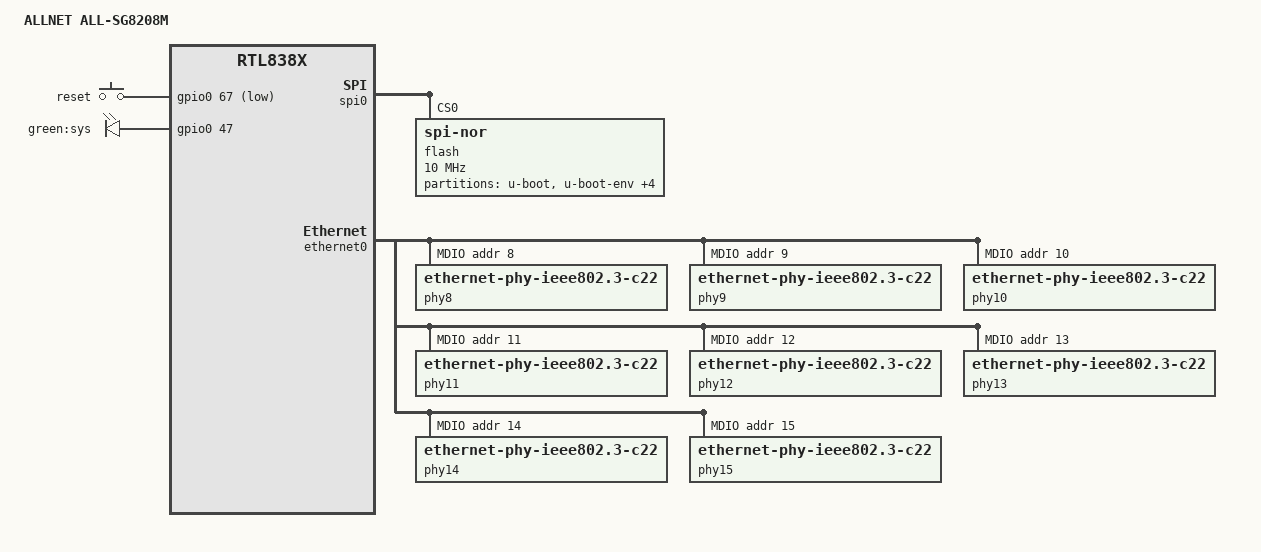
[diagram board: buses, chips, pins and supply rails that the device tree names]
// SPDX-License-Identifier: GPL-2.0-or-later

#include "rtl838x.dtsi"

#include <dt-bindings/input/input.h>
#include <dt-bindings/gpio/gpio.h>

/ {
	compatible = "allnet,all-sg8208m", "realtek,rtl838x-soc";
	model = "ALLNET ALL-SG8208M";

	aliases {
		led-boot = &led_sys;
		led-failsafe = &led_sys;
		led-running = &led_sys;
		led-upgrade = &led_sys;
	};

	chosen {
		bootargs = "console=ttyS0,115200";
	};

	keys {
		compatible = "gpio-keys-polled";
		poll-interval = <20>;

		reset {
			label = "reset";
			gpios = <&gpio0 67 GPIO_ACTIVE_LOW>;
			linux,code = <KEY_RESTART>;
		};
	};

	leds {
		compatible = "gpio-leds";

		led_sys: sys {
			label = "green:sys";
			gpios = <&gpio0 47 GPIO_ACTIVE_HIGH>;
		};
		// GPIO 25: power on/off all port leds
	};
};

&gpio0 {
	indirect-access-bus-id = <0>;
};

&spi0 {
	status = "okay";

	flash@0 {
		compatible = "jedec,spi-nor";
		reg = <0>;
		spi-max-frequency = <10000000>;

		partitions {
			compatible = "fixed-partitions";
			#address-cells = <1>;
			#size-cells = <1>;

			partition@0 {
				label = "u-boot";
				reg = <0x0 0x80000>;
				read-only;
			};

			partition@80000 {
				label = "u-boot-env";
				reg = <0x80000 0x10000>;
				read-only;
			};

			partition@90000 {
				label = "u-boot-env2";
				reg = <0x90000 0x10000>;
				read-only;
			};

			partition@a0000 {
				label = "jffs";
				reg = <0xa0000 0x100000>;
			};

			partition@1a0000 {
				label = "jffs2";
				reg = <0x1a0000 0x100000>;
			};

			partition@2a0000 {
				label = "firmware";
				reg = <0x2a0000 0xd60000>;
				compatible = "allnet,uimage";
			};
		};
	};
};

&ethernet0 {
	mdio: mdio-bus {
		compatible = "realtek,rtl838x-mdio";
		regmap = <&ethernet0>;
		#address-cells = <1>;
		#size-cells = <0>;

		/* Internal phy */
		phy8: ethernet-phy@8 {
			reg = <8>;
			compatible = "ethernet-phy-ieee802.3-c22";
		};

		phy9: ethernet-phy@9 {
			reg = <9>;
			compatible = "ethernet-phy-ieee802.3-c22";
		};

		phy10: ethernet-phy@10 {
			reg = <10>;
			compatible = "ethernet-phy-ieee802.3-c22";
		};

		phy11: ethernet-phy@11 {
			reg = <11>;
			compatible = "ethernet-phy-ieee802.3-c22";
		};

		phy12: ethernet-phy@12 {
			reg = <12>;
			compatible = "ethernet-phy-ieee802.3-c22";
		};

		phy13: ethernet-phy@13 {
			reg = <13>;
			compatible = "ethernet-phy-ieee802.3-c22";
		};

		phy14: ethernet-phy@14 {
			reg = <14>;
			compatible = "ethernet-phy-ieee802.3-c22";
		};

		phy15: ethernet-phy@15 {
			reg = <15>;
			compatible = "ethernet-phy-ieee802.3-c22";
		};
	};
};

&switch0 {
	ports {
		#address-cells = <1>;
		#size-cells = <0>;

		port@0 {
			reg = <8>;
			label = "lan1";
			phy-handle = <&phy8>;
			phy-mode = "internal";
		};

		port@1 {
			reg = <9>;
			label = "lan2";
			phy-handle = <&phy9>;
			phy-mode = "internal";
		};

		port@2 {
			reg = <10>;
			label = "lan3";
			phy-handle = <&phy10>;
			phy-mode = "internal";
		};

		port@3 {
			reg = <11>;
			label = "lan4";
			phy-handle = <&phy11>;
			phy-mode = "internal";
		};

		port@4 {
			reg = <12>;
			label = "lan5";
			phy-handle = <&phy12>;
			phy-mode = "internal";
		};

		port@5 {
			reg = <13>;
			label = "lan6";
			phy-handle = <&phy13>;
			phy-mode = "internal";
		};

		port@6 {
			reg = <14>;
			label = "lan7";
			phy-handle = <&phy14>;
			phy-mode = "internal";
		};

		port@7 {
			reg = <15>;
			label = "lan8";
			phy-handle = <&phy15>;
			phy-mode = "internal";
		};

		port@28 {
			ethernet = <&ethernet0>;
			reg = <28>;
			phy-mode = "internal";
			fixed-link {
				speed = <1000>;
				full-duplex;
			};
		};
	};
};
